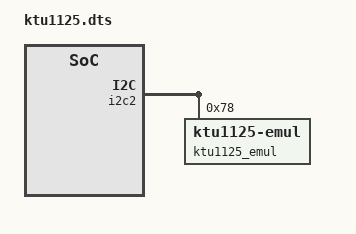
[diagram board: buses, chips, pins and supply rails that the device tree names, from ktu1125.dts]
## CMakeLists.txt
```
# Copyright 2023 The ChromiumOS Authors
# Use of this source code is governed by a BSD-style license that can be
# found in the LICENSE file.

# Add source files
target_sources(app PRIVATE src/ktu1125.c)
```

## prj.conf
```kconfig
# Copyright 2023 The ChromiumOS Authors
# Use of this source code is governed by a BSD-style license that can be
# found in the LICENSE file.

####CONFIG_PLATFORM_EC_USB_PD_VBUS_DETECT_PPC=y
```

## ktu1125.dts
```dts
/* Copyright 2024 The ChromiumOS Authors
 * Use of this source code is governed by a BSD-style license that can be
 * found in the LICENSE file.
 */

/ {
	usbc {
		port1@1 {
			compatible = "named-usbc-port";
			ppc = <&ktu1125_emul>;
		};
	};
};

&i2c2 {
	status="okay";

	ktu1125_emul: ktu1125@78 {
		compatible = "zephyr,ktu1125-emul", "kinetic,ktu1125";
		status = "okay";
		reg = <0x78>;
	};
};
```

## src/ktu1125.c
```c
<<<<<<< HEAD   (1766d6 npcx: watchdog: fix the way to check watchdog expiration for)
=======
/* Copyright 2024 The ChromiumOS Authors
 * Use of this source code is governed by a BSD-style license that can be
 * found in the LICENSE file.
 */

#include "driver/ppc/ktu1125.h"
#include "emul/emul_ktu1125.h"
#include "test/drivers/test_mocks.h"
#include "test/drivers/test_state.h"
#include "usbc_ppc.h"

#include <zephyr/fff.h>
#include <zephyr/ztest.h>

#define INVALID_PORT 99

#define KTU1125_PORT 1
#define KTU1125_NODE DT_NODELABEL(ktu1125_emul)

const struct emul *ktu1125_emul = EMUL_DT_GET(KTU1125_NODE);

ZTEST(ppc_ktu1125, test_cover_set_frs_enable)
{
	ktu1125_drv.set_frs_enable(KTU1125_PORT, true);
	ktu1125_drv.set_frs_enable(KTU1125_PORT, false);
}

ZTEST(ppc_ktu1125, test_cover_set_vconn)
{
	ktu1125_drv.set_vconn(KTU1125_PORT, true);
	ktu1125_drv.set_vconn(KTU1125_PORT, false);
}

ZTEST(ppc_ktu1125, test_cover_vbus_sink_enable)
{
	ktu1125_drv.vbus_sink_enable(KTU1125_PORT, 0);
	ktu1125_drv.vbus_sink_enable(KTU1125_PORT, 1);
	ktu1125_drv.vbus_sink_enable(KTU1125_PORT, 0);

	zassert_ok(ktu1125_emul_set_reg(ktu1125_emul, KTU1125_CTRL_SW_CFG,
					KTU1125_SW_AB_EN));
	ktu1125_drv.vbus_sink_enable(KTU1125_PORT, 1);

	zassert_ok(ktu1125_emul_set_reg(ktu1125_emul, KTU1125_CTRL_SW_CFG,
					KTU1125_SW_AB_EN | KTU1125_POW_MODE));
	ktu1125_drv.vbus_sink_enable(KTU1125_PORT, 0);
}

ZTEST(ppc_ktu1125, test_cover_vbus_source_enable)
{
	ktu1125_drv.vbus_source_enable(KTU1125_PORT, 0);
	ktu1125_drv.vbus_source_enable(KTU1125_PORT, 1);
	ktu1125_drv.vbus_source_enable(KTU1125_PORT, 0);
}

ZTEST(ppc_ktu1125, test_cover_set_polarity)
{
	ktu1125_drv.set_polarity(KTU1125_PORT, POLARITY_CC1);
	ktu1125_drv.set_polarity(KTU1125_PORT, POLARITY_CC2);
}

ZTEST(ppc_ktu1125, test_cover_set_sbu)
{
	ktu1125_drv.set_sbu(KTU1125_PORT, 0);
	ktu1125_drv.set_sbu(KTU1125_PORT, 1);
}

ZTEST(ppc_ktu1125, test_cover_set_vbus_source_current_limit)
{
	ktu1125_drv.set_vbus_source_current_limit(KTU1125_PORT, TYPEC_RP_USB);
	ktu1125_drv.set_vbus_source_current_limit(KTU1125_PORT, TYPEC_RP_1A5);
	ktu1125_drv.set_vbus_source_current_limit(KTU1125_PORT, TYPEC_RP_3A0);
}

ZTEST(ppc_ktu1125, test_cover_discharge_vbus)
{
	ktu1125_drv.discharge_vbus(KTU1125_PORT, 0);
	ktu1125_drv.discharge_vbus(KTU1125_PORT, 1);
}

ZTEST(ppc_ktu1125, test_cover_reg_dump)
{
	zassert_ok(ktu1125_emul_set_reg(ktu1125_emul, KTU1125_INT_SNK, 0xff));
	zassert_ok(ktu1125_emul_set_reg(ktu1125_emul, KTU1125_INT_SRC, 0xff));
	zassert_ok(ktu1125_emul_set_reg(ktu1125_emul, KTU1125_INT_DATA, 0xff));
	ktu1125_drv.reg_dump(KTU1125_PORT);
}

ZTEST(ppc_ktu1125, test_sticky_interrupt)
{
	/*
	 * The ktu1125 interrupt handler takes evasive action after 10
	 * attempts to clear chip interrupts. Verify evasive aciton is
	 * called.
	 */
	int return_vals[] = { [0 ... 11] = 0xff, 0, 0 };

	SET_RETURN_SEQ(ppc_get_alert_status, return_vals,
		       ARRAY_SIZE(return_vals));

	ktu1125_emul_assert_irq(ktu1125_emul, true);
	ktu1125_emul_assert_irq(ktu1125_emul, false);

	/* Wait for deferred irq handler to run. */
	k_sleep(K_SECONDS(1));
}

ZTEST(ppc_ktu1125, test_normal_interrupt)
{
	int return_vals[2] = { 0xff, 0 };

	SET_RETURN_SEQ(ppc_get_alert_status, return_vals,
		       ARRAY_SIZE(return_vals));

	zassert_ok(ktu1125_emul_set_reg(ktu1125_emul, KTU1125_INT_SNK, 0xff));
	zassert_ok(ktu1125_emul_set_reg(ktu1125_emul, KTU1125_INT_SRC, 0xff));
	zassert_ok(ktu1125_emul_set_reg(ktu1125_emul, KTU1125_INT_DATA, 0xff));

	ktu1125_emul_assert_irq(ktu1125_emul, true);
	ktu1125_emul_assert_irq(ktu1125_emul, false);

	/* Wait for deferred irq handler to run. */
	k_sleep(K_SECONDS(1));
}

ZTEST(ppc_ktu1125, test_cover_init)
{
	zassert_equal(ktu1125_drv.init(KTU1125_PORT), EC_SUCCESS);
	zassert_not_equal(ktu1125_drv.init(INVALID_PORT), EC_SUCCESS);

	/*
	 * Verify unexpected chip ID is rejected.
	 */
	zassert_ok(ktu1125_emul_set_reg(ktu1125_emul, KTU1125_ID, 0xff));
	zassert_not_equal(ktu1125_drv.init(KTU1125_PORT), EC_SUCCESS);
}

static void ktu1125_test_before(void *data)
{
	RESET_FAKE(ppc_get_alert_status);

	ktu1125_emul_reset(ktu1125_emul);
}

ZTEST_SUITE(ppc_ktu1125, drivers_predicate_post_main, NULL, ktu1125_test_before,
	    NULL, NULL);
>>>>>>> CHANGE (fb7c8a sn5s330: prevent infinite loop)
```
